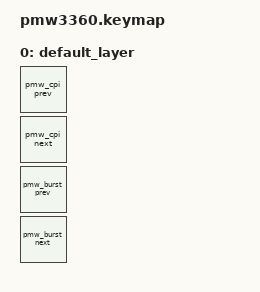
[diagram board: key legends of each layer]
/*
 * Copyright (c) 2026 Matthias Fulz
 * SPDX-License-Identifier: MIT
 */

#include <behaviors.dtsi>
#include <dt-bindings/zmk/keys.h>

/ {
    behaviors {
        pmw_cpi_next: pmw_cpi_next {
            compatible = "zmk,behavior-pmw3360-cpi-cycle";
            #binding-cells = <0>;
            next;
            default-cpi = <300>;
        };

        pmw_cpi_prev: pmw_cpi_prev {
            compatible = "zmk,behavior-pmw3360-cpi-cycle";
            #binding-cells = <0>;
            default-cpi = <300>;
        };

        pmw_burst_next: pmw_burst_next {
            compatible = "zmk,behavior-pmw3360-burst-accumulation-cycle";
            #binding-cells = <0>;
            next;
            default-max-samples = <12>;
        };

        pmw_burst_prev: pmw_burst_prev {
            compatible = "zmk,behavior-pmw3360-burst-accumulation-cycle";
            #binding-cells = <0>;
            default-max-samples = <12>;
        };
    };

    keymap {
        compatible = "zmk,keymap";

        default_layer {
            bindings = <
                &pmw_cpi_prev
                &pmw_cpi_next
                &pmw_burst_prev
                &pmw_burst_next
            >;
        };
    };
};
